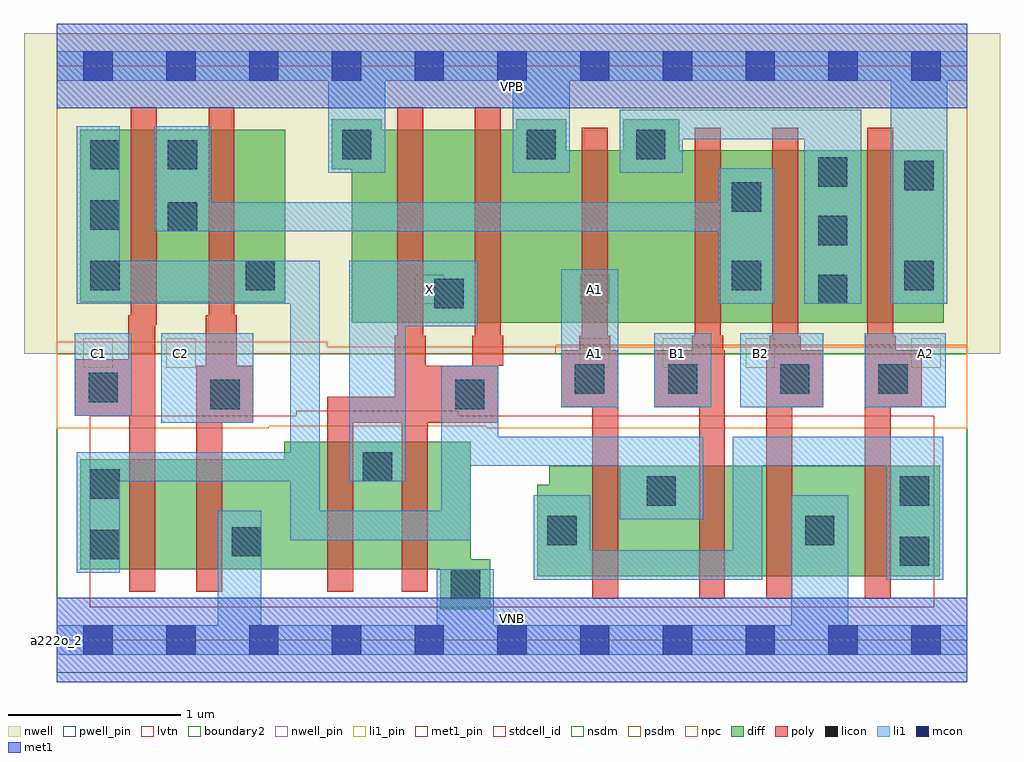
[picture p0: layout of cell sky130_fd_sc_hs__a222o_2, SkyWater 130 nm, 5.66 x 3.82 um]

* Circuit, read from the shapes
.subckt sky130_fd_sc_hs__a222o_2 A1 A2 B1 B2 C1 C2 VGND VNB VPB VPWR X
XM1 n1 C1 n2 VNB sky130_fd_pr__nfet_01v8_lvt w=0.64 l=0.15
XM2 VGND C2 n1 VNB sky130_fd_pr__nfet_01v8_lvt w=0.64 l=0.15
XM3 X n2 VGND VNB sky130_fd_pr__nfet_01v8_lvt w=0.74 l=0.15 m=2
XM4 n2 A1 n3 VNB sky130_fd_pr__nfet_01v8_lvt w=0.64 l=0.15
XM5 n4 B1 n2 VNB sky130_fd_pr__nfet_01v8_lvt w=0.64 l=0.15
XM6 VGND B2 n4 VNB sky130_fd_pr__nfet_01v8_lvt w=0.64 l=0.15
XM7 n3 A2 VGND VNB sky130_fd_pr__nfet_01v8_lvt w=0.64 l=0.15
XM8 n5 C1 n2 VPB sky130_fd_pr__pfet_01v8 w=1 l=0.15
XM9 n2 C2 n5 VPB sky130_fd_pr__pfet_01v8 w=1 l=0.15
XM10 X n2 VPWR VPB sky130_fd_pr__pfet_01v8 w=1.12 l=0.15 m=2
XM11 n6 A1 VPWR VPB sky130_fd_pr__pfet_01v8 w=1 l=0.15
XM12 n5 B1 n6 VPB sky130_fd_pr__pfet_01v8 w=1 l=0.15
XM13 n6 B2 n5 VPB sky130_fd_pr__pfet_01v8 w=1 l=0.15
XM14 VPWR A2 n6 VPB sky130_fd_pr__pfet_01v8 w=1 l=0.15
.ends

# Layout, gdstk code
import gdstk
lib = gdstk.Library(unit=1e-6, precision=1e-09)
def R(c, l, rs):  # rectangles x0, y0, x1, y1
    for r in rs: c.add(gdstk.rectangle(r[:2], r[2:], *l))
def A(c, l, x, y, w, h, nx, ny, dx, dy):  # array of equal rectangles
    R(c, l, [(x+i*dx, y+j*dy, x+i*dx+w, y+j*dy+h) for i in range(nx) for j in range(ny)])
def P(c, l, *ps):  # polygons
    for p in ps: c.add(gdstk.Polygon(p, *l))
nwell_pin = (64, 16)
nwell = (64, 20)
diff = (65, 20)
poly = (66, 20)
licon = (66, 44)
li1_pin = (67, 16)
li1 = (67, 20)
mcon = (67, 44)
met1_pin = (68, 16)
met1 = (68, 20)
stdcell_id = (81, 4)
nsdm = (93, 44)
psdm = (94, 20)
npc = (95, 20)
pwell_pin = (122, 16)
lvtn = (125, 44)
boundary2 = (236, 0)

sky130_fd_sc_hs__a222o_2 = lib.new_cell('sky130_fd_sc_hs__a222o_2')
R(sky130_fd_sc_hs__a222o_2, nwell_pin, [(0,3.085,5.28,3.33)])
R(sky130_fd_sc_hs__a222o_2, nwell, [(-0.19,1.66,5.47,3.52)])
R(sky130_fd_sc_hs__a222o_2, diff, [(0.135,1.96,1.325,2.96)])
P(sky130_fd_sc_hs__a222o_2, diff, [(2.515,0.47),(2.4,0.47),(2.4,1.15),(1.32,1.15),(1.32,1.05),(0.135,1.05),(0.135,0.41),(2.225,0.41),(2.225,0.18),(2.515,0.18)],
  [(5.12,1.01),(2.855,1.01),(2.855,0.9),(2.785,0.9),(2.785,0.37),(5.12,0.37)],
  [(5.145,2.84),(3.61,2.84),(3.61,3.02),(3.285,3.02),(3.285,2.84),(2.955,2.84),(2.955,3.02),(2.665,3.02),(2.665,2.96),(1.885,2.96),(1.885,3.02),(1.595,3.02),(1.595,2.73),(1.71,2.73),(1.71,1.84),(5.145,1.84)])
P(sky130_fd_sc_hs__a222o_2, poly, [(0.58,3.09),(0.43,3.09),(0.43,1.885),(0.415,1.885),(0.415,1.63),(0.105,1.63),(0.105,1.3),(0.42,1.3),(0.42,0.28),(0.57,0.28),(0.57,1.83),(0.58,1.83)],
  [(1.14,1.59),(1.045,1.59),(1.045,1.885),(1.03,1.885),(1.03,3.09),(0.88,3.09),(0.88,1.885),(0.865,1.885),(0.865,1.59),(0.81,1.59),(0.81,0.28),(0.96,0.28),(0.96,1.26),(1.14,1.26)],
  [(2.59,1.765),(2.575,1.765),(2.575,3.09),(2.425,3.09),(2.425,1.765),(2.41,1.765),(2.41,1.59),(2.14,1.59),(2.14,1.765),(2.125,1.765),(2.125,3.09),(1.975,3.09),(1.975,1.765),(1.96,1.765),(1.96,1.41),(1.57,1.41),(1.57,0.28),(1.72,0.28),(1.72,1.26),(2,1.26),(2,0.28),(2.15,0.28),(2.15,1.26),(2.56,1.26),(2.56,1.59),(2.59,1.59)],
  [(3.255,1.68),(3.21,1.68),(3.21,1.765),(3.195,1.765),(3.195,2.97),(3.045,2.97),(3.045,1.765),(3.03,1.765),(3.03,1.68),(2.925,1.68),(2.925,1.35),(3.105,1.35),(3.105,0.24),(3.255,0.24)],
  [(3.875,1.68),(3.865,1.68),(3.865,1.765),(3.85,1.765),(3.85,2.97),(3.7,2.97),(3.7,1.765),(3.685,1.765),(3.685,1.68),(3.465,1.68),(3.465,1.35),(3.725,1.35),(3.725,0.24),(3.875,0.24)],
  [(4.445,1.68),(4.315,1.68),(4.315,1.765),(4.3,1.765),(4.3,2.97),(4.15,2.97),(4.15,1.765),(4.135,1.765),(4.135,1.68),(4.115,1.68),(4.115,0.24),(4.265,0.24),(4.265,1.35),(4.445,1.35)],
  [(5.015,1.68),(4.865,1.68),(4.865,1.765),(4.85,1.765),(4.85,2.97),(4.7,2.97),(4.7,1.765),(4.685,1.765),(4.685,0.24),(4.835,0.24),(4.835,1.35),(5.015,1.35)])
A(sky130_fd_sc_hs__a222o_2, licon, 4.415, 1.95, 0.17, 0.17, 1, 3, 0, 0.34)
A(sky130_fd_sc_hs__a222o_2, licon, 0.195, 2.03, 0.17, 0.17, 1, 3, 0, 0.35)
R(sky130_fd_sc_hs__a222o_2, licon, [(2.285,0.24,2.455,0.41), (4.89,0.43,5.06,0.6), (0.195,0.47,0.365,0.64), (1.015,0.485,1.185,0.655), (2.845,0.55,3.015,0.72), (4.34,0.55,4.51,0.72), (3.42,0.78,3.59,0.95), (4.89,0.78,5.06,0.95), (0.195,0.82,0.365,0.99), (1.775,0.92,1.945,1.09), (0.89,1.34,1.06,1.51), (2.31,1.34,2.48,1.51), (0.185,1.38,0.355,1.55), (3.005,1.43,3.175,1.6), (3.545,1.43,3.715,1.6), (4.195,1.43,4.365,1.6), (4.765,1.43,4.935,1.6), (2.19,1.925,2.36,2.095), (1.095,2.03,1.265,2.2), (3.915,2.03,4.085,2.2), (4.915,2.03,5.085,2.2), (0.645,2.37,0.815,2.54), (3.915,2.485,4.085,2.655), (4.915,2.61,5.085,2.78), (0.645,2.73,0.815,2.9), (1.655,2.79,1.825,2.96), (2.725,2.79,2.895,2.96), (3.36,2.79,3.53,2.96)])
A(sky130_fd_sc_hs__a222o_2, li1_pin, 3.035, 1.58, 0.17, 0.17, 3, 1, 0.48, 0)
R(sky130_fd_sc_hs__a222o_2, li1_pin, [(0.155,1.58,0.325,1.75), (0.635,1.58,0.805,1.75), (4.955,1.58,5.125,1.75), (2.075,1.95,2.245,2.12), (3.035,1.95,3.205,2.12)])
R(sky130_fd_sc_hs__a222o_2, li1, [(0.605,1.26,1.14,1.78), (0.105,1.3,0.435,1.78), (2.925,1.35,3.255,2.15), (3.465,1.35,3.795,1.78), (3.965,1.35,4.445,1.78), (4.685,1.35,5.155,1.78)])
P(sky130_fd_sc_hs__a222o_2, li1, [(1.575,2.71),(1.575,3.245),(0,3.245),(0,3.415),(5.28,3.415),(5.28,3.245),(5.165,3.245),(5.165,1.95),(4.835,1.95),(4.835,3.245),(2.975,3.245),(2.975,2.71),(2.645,2.71),(2.645,3.245),(1.905,3.245),(1.905,2.71)],
  [(0.935,0.085),(0.935,0.75),(1.185,0.75),(1.185,0.085),(2.205,0.085),(2.205,0.41),(2.535,0.41),(2.535,0.085),(4.26,0.085),(4.26,0.84),(4.59,0.84),(4.59,0.085),(5.28,0.085),(5.28,-0.085),(0,-0.085),(0,0.085)],
  [(1.695,2.2),(2.44,2.2),(2.44,1.82),(2.025,1.82),(2.025,0.92),(1.695,0.92)],
  [(3.095,0.52),(3.92,0.52),(3.92,1.18),(5.14,1.18),(5.14,0.35),(4.81,0.35),(4.81,1.01),(4.09,1.01),(4.09,0.35),(2.765,0.35),(2.765,0.84),(3.095,0.84)],
  [(1.355,0.92),(0.365,0.92),(0.365,0.39),(0.115,0.39),(0.115,1.09),(1.355,1.09),(1.355,1.95),(0.115,1.95),(0.115,2.98),(0.365,2.98),(0.365,2.2),(1.525,2.2),(1.525,0.75),(2.23,0.75),(2.23,1.59),(2.56,1.59),(2.56,1.18),(3.75,1.18),(3.75,0.7),(3.265,0.7),(3.265,1.01),(2.4,1.01),(2.4,0.58),(1.355,0.58)],
  [(0.565,2.37),(0.565,2.98),(0.895,2.98),(0.895,2.54),(3.835,2.54),(3.835,2.735),(4.165,2.735),(4.165,1.95),(3.835,1.95),(3.835,2.37)],
  [(4.335,1.95),(4.335,2.905),(3.63,2.905),(3.63,2.71),(3.265,2.71),(3.265,3.075),(4.665,3.075),(4.665,1.95)])
A(sky130_fd_sc_hs__a222o_2, mcon, 0.155, -0.085, 0.17, 0.17, 11, 2, 0.48, 3.33)
R(sky130_fd_sc_hs__a222o_2, met1_pin, [(0,0,5.28,0.245), (0,3.085,5.28,3.33)])
R(sky130_fd_sc_hs__a222o_2, met1, [(0,-0.245,5.28,0.245), (0,3.085,5.28,3.575)])
R(sky130_fd_sc_hs__a222o_2, stdcell_id, [(0,0,5.28,3.33)])
R(sky130_fd_sc_hs__a222o_2, nsdm, [(0,-0.19,5.28,1.66)])
P(sky130_fd_sc_hs__a222o_2, psdm, [(5.28,3.52),(0,3.52),(0,1.66),(2.895,1.66),(2.895,1.71),(5.28,1.71)])
P(sky130_fd_sc_hs__a222o_2, npc, [(5.28,1.7),(1.57,1.7),(1.57,1.73),(0,1.73),(0,1.23),(1.23,1.23),(1.23,1.24),(2.49,1.24),(2.49,1.23),(5.28,1.23)])
R(sky130_fd_sc_hs__a222o_2, pwell_pin, [(0,0,5.28,0.245)])
P(sky130_fd_sc_hs__a222o_2, lvtn, [(5.09,1.3),(2.33,1.3),(2.33,1.33),(1.39,1.33),(1.39,1.3),(0.19,1.3),(0.19,0.19),(5.09,0.19)])
R(sky130_fd_sc_hs__a222o_2, boundary2, [(0,0,5.28,3.33)])
sky130_fd_sc_hs__a222o_2.add(gdstk.Label('a222o_2', (0,0), layer=83, texttype=44))
sky130_fd_sc_hs__a222o_2.add(gdstk.Label('VNB', (2.64,0.123), layer=64, texttype=59))
sky130_fd_sc_hs__a222o_2.add(gdstk.Label('VPB', (2.64,3.208), layer=64, texttype=5))
sky130_fd_sc_hs__a222o_2.add(gdstk.Label('VPWR', (2.64,3.208), layer=68, texttype=5))
sky130_fd_sc_hs__a222o_2.add(gdstk.Label('VGND', (2.64,0.123), layer=68, texttype=5))
sky130_fd_sc_hs__a222o_2.add(gdstk.Label('X', (2.16,2.035), layer=67, texttype=5))
sky130_fd_sc_hs__a222o_2.add(gdstk.Label('C1', (0.24,1.665), layer=67, texttype=5))
sky130_fd_sc_hs__a222o_2.add(gdstk.Label('B2', (4.08,1.665), layer=67, texttype=5))
sky130_fd_sc_hs__a222o_2.add(gdstk.Label('B1', (3.6,1.665), layer=67, texttype=5))
sky130_fd_sc_hs__a222o_2.add(gdstk.Label('A2', (5.04,1.665), layer=67, texttype=5))
sky130_fd_sc_hs__a222o_2.add(gdstk.Label('C2', (0.72,1.665), layer=67, texttype=5))
sky130_fd_sc_hs__a222o_2.add(gdstk.Label('A1', (3.12,1.665), layer=67, texttype=5))
sky130_fd_sc_hs__a222o_2.add(gdstk.Label('A1', (3.12,2.035), layer=67, texttype=5))

lib.write_gds('sky130_fd_sc_hs__a222o_2.gds')
